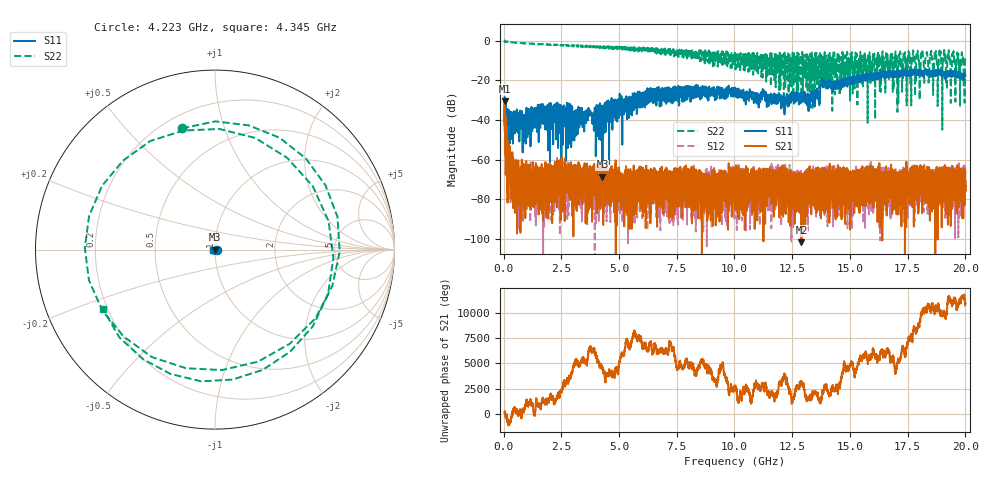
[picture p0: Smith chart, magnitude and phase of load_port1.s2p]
!Agilent Technologies,E8364A,US41440322,A.04.87.01
!Agilent E8364A: A.04.87.01
!Date: Tuesday, July 16, 2024 13:06:47
!Correction: S11(Full 2 Port SOLT,1,2) S21(Full 2 Port SOLT,1,2) S12(Full 2 Port SOLT,1,2) S22(Full 2 Port SOLT,1,2)
!S2P File: Measurements: S11, S21, S12, S22:
# Hz S  dB  R 50
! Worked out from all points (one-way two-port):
!   6401 points, 45 MHz to 20 GHz, reference 50 ohm
!   highest |S21| = -30.36 dB at 45 MHz (marker M1); lowest = -101.6 dB at 12.9 GHz (marker M2)
!   lowest |S11| = -68.6 dB at 4.282 GHz (marker M3), VSWR 1.00, Z = 50 - j0.0115 ohm
!   |S11| at or under -10 dB: start of sweep to end of sweep
!   |S22| runs from -44.8 to 0.2 dB; largest |S21 - S12| = 0.036
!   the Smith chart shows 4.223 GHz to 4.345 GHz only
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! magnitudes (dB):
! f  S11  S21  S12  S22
! 45 MHz  -28.4  -30.4  -40.5  -0.1
! 147.9 MHz  -39.3  -49.3  -49.9  -0.4
! 257 MHz  -40.0  -54.9  -58.8  -0.6
! 643.6 MHz  -36.8  -74.2  -63.8  -0.9
! 868.1 MHz  -38.3  -69.4  -78.1  -1.2
! 1.629 GHz  -32.2  -65.9  -76.2  -1.7
! 2.224 GHz  -39.9  -61.0  -69.4  -2.0
! 3.372 GHz  -34.7  -68.6  -64.9  -2.6
! 4.282 GHz  -68.6  -63.1  -64.5  -2.8
! 5.031 GHz  -26.7  -76.0  -73.6  -3.9
! 6.699 GHz  -27.6  -72.4  -73.6  -4.5
! 10.02 GHz  -24.0  -72.0  -73.1  -6.7
! 12.11 GHz  -30.1  -88.7  -75.8  -7.3
! 12.9 GHz  -25.9  -101.6  -72.8  -13.3
! 13.35 GHz  -29.8  -73.1  -71.4  -6.0
! 13.85 GHz  -21.0  -80.1  -70.6  -7.5
! 16.68 GHz  -15.1  -75.4  -68.6  -11.1
! 17.86 GHz  -14.9  -76.0  -69.5  -14.1
! 18.26 GHz  -16.6  -71.3  -65.5  -9.5
! 19.45 GHz  -17.7  -65.8  -70.1  -7.3
! 19.88 GHz  -19.3  -71.2  -63.8  -8.8
! 20 GHz  -17.7  -73.1  -65.3  -8.2
